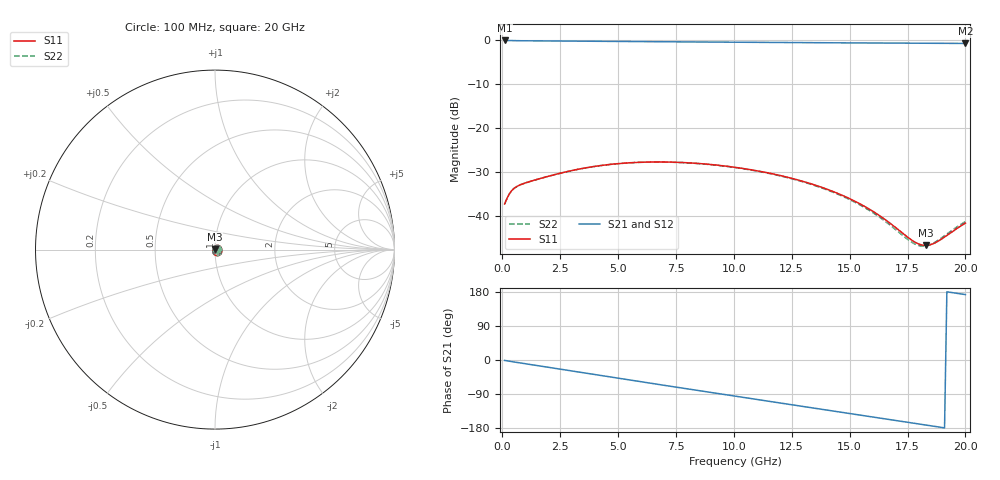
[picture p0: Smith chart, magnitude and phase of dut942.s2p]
! Touchstone file exported from HFSS 2026.1.0
!  File:  C:/ffzhzh/LocalFiles/Ansys_Project_Files/temp_train_TSV_RDL_942_1783282024_38820.aedt
!  Generated:  04:14:51 AM Jul  6, 2026
!  Design:  TSV_RDL
!  Project:  temp_train_TSV_RDL_942_1783282024_38820
! Variables:
!  h_bsmrdl = 4.34um
!  h_ox = 20um
!  h_rdl = 5um
!  h_sub = 65.54um
!  h_tmrdl = 3.84um
!  h_tsv = 65.54um
!  h_via = 3um
!  l_bsmrdl = 148.29um
!  l_sub = 3249.56um
!  l_tmrdl = 566.74um
!  m_sub = 200um
!  pitch = 27.71um
!  r_tsv = 6.29um
!  s_tmrdl = 10um
!  w_bsmrdl = 22.5um
!  w_sub = 500um
!  w_tmrdl = 23.41um
!  x_tsv_center1 = 578.445um
!  x_tsv_center2 = 749.235um
!  x_tsv_center3 = 1339.385um
!  x_tsv_center4 = 1510.175um
!  x_tsv_center5 = 2100.325um
!  x_tsv_center6 = 2271.115um
# GHz S MA R 50.000000
! Terminal data exported
! Port[1] = TM_RDL1_1_T1
! Port[2] = TM_RDL5_1_T1
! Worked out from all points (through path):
!   200 points, 100 MHz to 20 GHz, reference 50 ohm
!   highest |S21| = -0.12 dB at 100 MHz (marker M1); lowest = -0.8 dB at 20 GHz (marker M2)
!   group delay of S21, straight-line fit = 25.9 ps
!   lowest |S11| = -46.8 dB at 18.3 GHz (marker M3), VSWR 1.01, Z = 49.8 + j0.423 ohm
!   |S11| at or under -10 dB: start of sweep to end of sweep
!   |S22| runs from -46.9 to -27.8 dB; largest |S21 - S12| = 4.1e-14
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0.1  0.01359 11.8  0.9867 -1.1  0.9867 -1.1  0.01359 11.8
! Gamma 0 0 0 0
! Port Impedance 50 0 50 0
0.3  0.01763 19.0  0.9836 -3.2  0.9836 -3.2  0.01763 19.0
0.4  0.0192 18.6  0.9823 -4.2  0.9823 -4.2  0.0192 18.6
0.7  0.02199 16.0  0.9797 -7.0  0.9797 -7.0  0.02198 16.0
2.1  0.0286 9.9  0.9747 -20.4  0.9747 -20.4  0.02859 9.9
3.5  0.03465 -0.2  0.9692 -33.8  0.9692 -33.8  0.03462 -0.2
5.2  0.03952 -17.3  0.9617 -50.0  0.9617 -50.0  0.03946 -17.2
6.8  0.04089 -35.1  0.9548 -65.0  0.9548 -65.0  0.04078 -35.0
8.5  0.03925 -54.6  0.9479 -80.9  0.9479 -80.9  0.0391 -54.5
10.1  0.03538 -73.3  0.9419 -95.8  0.9419 -95.8  0.03517 -73.2
11.7  0.02985 -92.6  0.9363 -110.7  0.9363 -110.7  0.02957 -92.4
13.4  0.02278 -114.1  0.9308 -126.4  0.9308 -126.4  0.02245 -114.0
14.3  0.01878 -126.6  0.928 -134.8  0.928 -134.8  0.01842 -126.5
15.2  0.01474 -140.4  0.9254 -143.1  0.9254 -143.1  0.01436 -140.5
16  0.01125 -155.2  0.9231 -150.5  0.9231 -150.5  0.01085 -155.5
16.7  0.00839 -172.0  0.9212 -157.0  0.9212 -157.0  0.007996 -172.9
17.7  0.005234 148.9  0.9185 -166.2  0.9185 -166.2  0.004956 145.2
18  0.004745 131.6  0.9177 -169.0  0.9177 -169.0  0.004562 126.7
18.3  0.004591 112.5  0.917 -171.7  0.917 -171.7  0.004528 107.0
18.5  0.004684 99.9  0.9165 -173.6  0.9165 -173.6  0.004702 94.5
18.8  0.00508 82.7  0.9157 -176.4  0.9157 -176.4  0.005206 77.9
20  0.008236 38.5  0.9128 172.6  0.9128 172.6  0.008571 36.4
